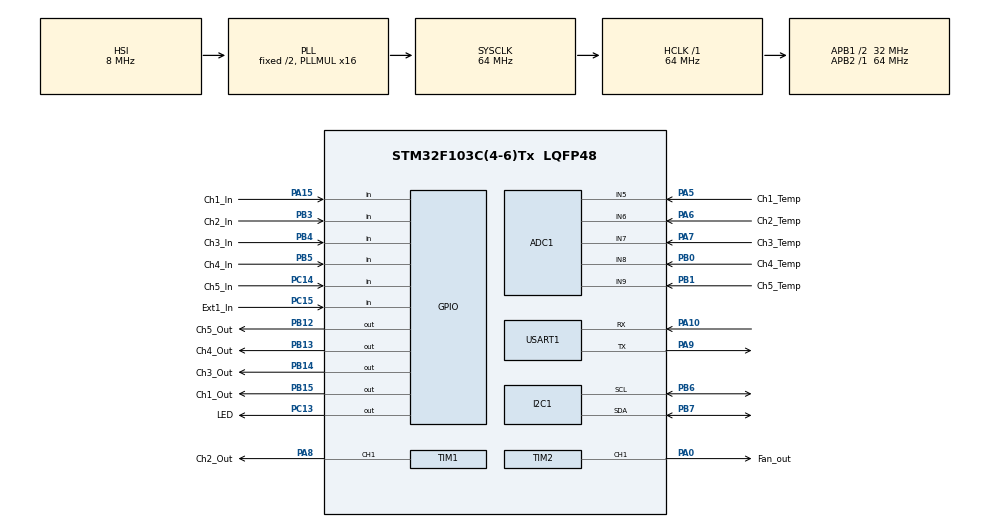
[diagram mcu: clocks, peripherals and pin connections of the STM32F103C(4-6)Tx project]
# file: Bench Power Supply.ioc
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ADC1.Channel-2\#ChannelRegularConversion=ADC_CHANNEL_9
ADC1.NbrOfConversionFlag=1
ADC1.Rank-2\#ChannelRegularConversion=1
ADC1.SamplingTime-2\#ChannelRegularConversion=ADC_SAMPLETIME_1CYCLE_5
ADC1.master=1
Mcu.Family=STM32F1
Mcu.Name=STM32F103C(4-6)Tx
Mcu.Package=LQFP48
NVIC.PriorityGroup=NVIC_PRIORITYGROUP_4
PA0-WKUP.GPIO_Label=Fan_out
PA0-WKUP.Signal=S_TIM2_CH1_ETR
PA10.Mode=Asynchronous
PA10.Signal=USART1_RX
PA13.Mode=Serial_Wire
PA13.Signal=SYS_JTMS-SWDIO
PA14.Mode=Serial_Wire
PA14.Signal=SYS_JTCK-SWCLK
PA15.GPIO_Label=Ch1_In
PA15.GPIO_PuPd=GPIO_PULLDOWN
PA15.Signal=GPIO_Input
PA5.GPIO_Label=Ch1_Temp
PA5.Signal=ADCx_IN5
PA6.GPIO_Label=Ch2_Temp
PA6.Signal=ADCx_IN6
PA7.GPIO_Label=Ch3_Temp
PA7.Signal=ADCx_IN7
PA8.GPIO_Label=Ch2_Out
PA8.Signal=S_TIM1_CH1
PA9.Mode=Asynchronous
PA9.Signal=USART1_TX
PB0.GPIO_Label=Ch4_Temp
PB0.Signal=ADCx_IN8
PB1.GPIO_Label=Ch5_Temp
PB1.Signal=ADCx_IN9
PB12.GPIO_Label=Ch5_Out
PB12.GPIO_PuPd=GPIO_NOPULL
PB12.Signal=GPIO_Output
PB13.GPIO_Label=Ch4_Out
PB13.Signal=GPIO_Output
PB14.GPIO_Label=Ch3_Out
PB14.Signal=GPIO_Output
PB15.GPIO_Label=Ch1_Out
PB15.Signal=GPIO_Output
PB3.GPIO_Label=Ch2_In
PB3.GPIO_PuPd=GPIO_PULLDOWN
PB3.Signal=GPIO_Input
PB4.GPIO_Label=Ch3_In
PB4.GPIO_PuPd=GPIO_PULLDOWN
PB4.Signal=GPIO_Input
PB5.GPIO_Label=Ch4_In
PB5.GPIO_PuPd=GPIO_PULLDOWN
PB5.Signal=GPIO_Input
PB6.Mode=I2C
PB6.Signal=I2C1_SCL
PB7.Mode=I2C
PB7.Signal=I2C1_SDA
PC13-TAMPER-RTC.GPIO_Label=LED
PC13-TAMPER-RTC.Signal=GPIO_Output
PC14-OSC32_IN.GPIO_Label=Ch5_In
PC14-OSC32_IN.GPIO_PuPd=GPIO_PULLDOWN
PC14-OSC32_IN.Signal=GPIO_Input
PC15-OSC32_OUT.GPIO_Label=Ext1_In
PC15-OSC32_OUT.Signal=GPIO_Input
ProjectManager.HeapSize=0x200
ProjectManager.StackSize=0x400
ProjectManager.TargetToolchain=STM32CubeIDE
RCC.ADCPresc=RCC_ADCPCLK2_DIV6
RCC.AHBFreq_Value=64000000
RCC.APB1CLKDivider=RCC_HCLK_DIV2
RCC.APB1Freq_Value=32000000
RCC.APB1TimFreq_Value=64000000
RCC.APB2Freq_Value=64000000
RCC.APB2TimFreq_Value=64000000
RCC.HCLKFreq_Value=64000000
RCC.PLLMUL=RCC_PLL_MUL16
RCC.SYSCLKFreq_VALUE=64000000
RCC.SYSCLKSource=RCC_SYSCLKSOURCE_PLLCLK
RCC.USBFreq_Value=64000000
SH.ADCx_IN5.0=ADC1_IN5,IN5
SH.ADCx_IN6.0=ADC1_IN6,IN6
SH.ADCx_IN7.0=ADC1_IN7,IN7
SH.ADCx_IN8.0=ADC1_IN8,IN8
SH.ADCx_IN9.0=ADC1_IN9,IN9
SH.S_TIM1_CH1.0=TIM1_CH1,PWM Generation1 CH1
SH.S_TIM2_CH1_ETR.0=TIM2_CH1,PWM Generation1 CH1
TIM1.Channel-PWM\ Generation1\ CH1=TIM_CHANNEL_1
TIM1.Period=2047
TIM2.Channel-PWM\ Generation1\ CH1=TIM_CHANNEL_1
TIM2.Period=2047
USART1.VirtualMode=VM_ASYNC
VP_TIM1_VS_ClockSourceINT.Mode=Internal
VP_TIM2_VS_ClockSourceINT.Mode=Internal
board=custom

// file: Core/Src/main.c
/* USER CODE BEGIN Header */
/**
  ******************************************************************************
  * @file           : main.c
  * @brief          : Main program body
  ******************************************************************************
  * @attention
  *
  * Copyright (c) 2025 STMicroelectronics.
  * All rights reserved.
  *
  * This software is licensed under terms that can be found in the LICENSE file
  * in the root directory of this software component.
  * If no LICENSE file comes with this software, it is provided AS-IS.
  *
  ******************************************************************************
  */
/* USER CODE END Header */
#include "main.h"

/* USER CODE BEGIN Includes */
#include <stdbool.h>
#include "controller.h"

/* USER CODE END Includes */

ADC_HandleTypeDef hadc1;

I2C_HandleTypeDef hi2c1;

TIM_HandleTypeDef htim1;
TIM_HandleTypeDef htim2;

UART_HandleTypeDef huart1;

void SystemClock_Config(void);
static void MX_GPIO_Init(void);
static void MX_I2C1_Init(void);
static void MX_USART1_UART_Init(void);
static void MX_ADC1_Init(void);
static void MX_TIM1_Init(void);
static void MX_TIM2_Init(void);

/* USER CODE BEGIN 0 */

/**
 * @brief Retargets the C library `printf` function to the USART1 peripheral.
 * @param ch The character to transmit.
 * @return The character transmitted.
 */
#if DEBUG
int __io_putchar(int ch) {
    HAL_UART_Transmit(&huart1, (uint8_t *)&ch, 1, HAL_MAX_DELAY);
    return ch;
}
#endif

/**
 * @brief This section defines the entire hardware configuration of the power supply in software.
 * All power channels, fans, and external buttons are instantiated and configured here.
 */

static FanController *fans[MAX_FANS] = {
		&(FanController){
			.pwm = {
				.type = OUTPUT_PWM,
				.pwm_timer = &htim2,
				.pwm_channel = TIM_CHANNEL_1,
				.pwm_inversed = false,
				.pwm_last_value = 65535,
			},
			.min_start_speed = 0.22f,
			.temp_activation = true,
			.temp_start_ratio = 0.6f,
			.temp_max_ratio = 0.85f,
			.current_speed = 0.0f,
			.current_activation = true,
			.current_start_ratio = 0.3f,
			.current_max_ratio = 0.8f,
		}
};

static PowerChannel *channels[MAX_CHANNELS] = {
    &(PowerChannel){
		.name = "In",
        .temp_sensor_count = 1,
        .temp_sensors = {
            {
                .adc = {
                    .source = ADC_INTERNAL,
                    .mode = ADC_SINGLE_ENDED,
                    .channel = 9,        // Ch1_Temp
                    .adc_id = 0,
                    .conversion_factor = 0.01f,
                },
                .warning_threshold = 50,
                .shutdown_threshold = 70,
				.nominal_resistance = 10000.0f,
				.nominal_temperature = 298.15f,
				.beta = 3435.0f,
				.series_resistor = 10000.0f,
            }
        },
        .current_sensor = &(CurrentSensor){
            .adc = {
                .source = ADC_EXTERNAL,
                .mode = ADC_DIFFERENTIAL,
                .pos_channel = 0,  // A0
                .neg_channel = 1,  // A1
                .adc_id = 1,       // ADS1115
                .conversion_factor = 0.05,
            },
            .warning_threshold = 9.5f,
            .shutdown_threshold = 12.5f
        },
        .voltage_sensor = NULL, // No voltage sensor
        .output = {
            .type = OUTPUT_GPIO,
            .pin = { .port = Ch1_Out_GPIO_Port, .pin = Ch1_Out_Pin },
            .active_high = 1
        },
        .button = &(Button){
            .pin = { .port = Ch1_In_GPIO_Port, .pin = Ch1_In_Pin },
            .debounce_ms = 10,
            .long_press_ms = 500,
            .state = 0,
            .last_change_time = 0,
            .event = BUTTON_IDLE
        },
        .enabled = false
    },

	&(PowerChannel){
		.name = "C1",
        .temp_sensor_count = 1,
        .temp_sensors = {
            {
                .adc = {
                    .source = ADC_INTERNAL,
                    .mode = ADC_SINGLE_ENDED,
                    .channel = 8,
                    .adc_id = 0,
                    .conversion_factor = 0.01f
                },
                .warning_threshold = 50,
                .shutdown_threshold = 70,
				.nominal_resistance = 10000.0f,
				.nominal_temperature = 298.15f,
				.beta = 3435.0f,
				.series_resistor = 10000.0f,
            }
        },
        .current_sensor = NULL,
        .voltage_sensor = NULL,
        .output = {
            .type = OUTPUT_PWM,
			.pwm_timer = &htim1,
			.pwm_channel = TIM_CHANNEL_1,
            .active_high = 1,
			.pwm_inversed = false,
			.pwm_last_value = 2037,
        },
        .button = &(Button){
            .pin = { .port = Ch2_In_GPIO_Port, .pin = Ch2_In_Pin },
            .debounce_ms = 10,
            .long_press_ms = 500,
            .state = 0,
            .last_change_time = 0,
            .event = BUTTON_IDLE
        },
        .enabled = false
    },

	&(PowerChannel){
		.name = "C2",
        .temp_sensor_count = 1,
        .temp_sensors = {
            {
                .adc = {
                    .source = ADC_INTERNAL,
                    .mode = ADC_SINGLE_ENDED,
                    .channel = 7,
                    .adc_id = 0,
                    .conversion_factor = 0.01f
                },
                .warning_threshold = 50,
                .shutdown_threshold = 70,
				.nominal_resistance = 10000.0f,
				.nominal_temperature = 298.15f,
				.beta = 3435.0f,
				.series_resistor = 10000.0f,
            }
        },
        .current_sensor = NULL,
        .voltage_sensor = NULL,
        .output = {
            .type = OUTPUT_GPIO,
            .pin = { .port = Ch3_Out_GPIO_Port, .pin = Ch3_Out_Pin },
            .active_high = 1
        },
        .button = &(Button){
            .pin = { .port = Ch3_In_GPIO_Port, .pin = Ch3_In_Pin },
            .debounce_ms = 10,
            .long_press_ms = 500,
            .state = 0,
            .last_change_time = 0,
            .event = BUTTON_IDLE
        },
        .enabled = false
    },

	&(PowerChannel){
		.name = "C3",
        .temp_sensor_count = 1,
        .temp_sensors = {
            {
                .adc = {
                    .source = ADC_INTERNAL,
                    .mode = ADC_SINGLE_ENDED,
                    .channel = 6,
                    .adc_id = 0,
                    .conversion_factor = 0.01f
                },
                .warning_threshold = 50,
                .shutdown_threshold = 70,
				.nominal_resistance = 10000.0f,
				.nominal_temperature = 298.15f,
				.beta = 3435.0f,
				.series_resistor = 10000.0f,
            }
        },
        .current_sensor = NULL,
        .voltage_sensor = NULL,
        .output = {
            .type = OUTPUT_GPIO,
            .pin = { .port = Ch4_Out_GPIO_Port, .pin = Ch4_Out_Pin },
            .active_high = 1
        },
        .button = &(Button){
            .pin = { .port = Ch4_In_GPIO_Port, .pin = Ch4_In_Pin },
            .debounce_ms = 10,
            .long_press_ms = 500,
            .state = 0,
            .last_change_time = 0,
            .event = BUTTON_IDLE
        },
        .enabled = false
    },

	&(PowerChannel){
		.name = "C4",
        .temp_sensor_count = 1,
        .temp_sensors = {
            {
                .adc = {
                    .source = ADC_INTERNAL,
                    .mode = ADC_SINGLE_ENDED,
                    .channel = 5,
                    .adc_id = 0,
                    .conversion_factor = 0.01f
                },
                .warning_threshold = 50,
                .shutdown_threshold = 70,
				.nominal_resistance = 10000.0f,
				.nominal_temperature = 298.15f,
				.beta = 3435.0f,
				.series_resistor = 10000.0f,
            }
        },
        .current_sensor = NULL,
        .voltage_sensor = NULL,
        .output = {
            .type = OUTPUT_GPIO,
            .pin = { .port = Ch5_Out_GPIO_Port, .pin = Ch5_Out_Pin },
            .active_high = 1
        },
        .button = &(Button){
            .pin = { .port = Ch5_In_GPIO_Port, .pin = Ch5_In_Pin },
            .debounce_ms = 10,
            .long_press_ms = 500,
            .state = 0,
            .last_change_time = 0,
            .event = BUTTON_IDLE
        },
        .enabled = false
    }
};

static Button* external_buttons[MAX_EXTERNAL_BUTTONS] = {
	&(Button){
		.pin = { .port = Ext1_In_GPIO_Port, .pin = Ext1_In_Pin },
		.debounce_ms = 10,
		.long_press_ms = 1000,
		.state = 0,
		.last_change_time = 0,
		.event = BUTTON_IDLE
	},
};

/* USER CODE END 0 */

int main(void)
{

  /* MCU Configuration--------------------------------------------------------*/

  /* Reset of all peripherals, Initializes the Flash interface and the Systick. */
  HAL_Init();

  /* Configure the system clock */
  SystemClock_Config();

  /* Initialize all configured peripherals */
  MX_GPIO_Init();
  MX_I2C1_Init();
  MX_USART1_UART_Init();
  MX_ADC1_Init();
  MX_TIM1_Init();
  MX_TIM2_Init();
  /* USER CODE BEGIN 2 */
  HAL_GPIO_TogglePin(LED_GPIO_Port, LED_Pin);

  init_controller(channels, MAX_CHANNELS, external_buttons, MAX_EXTERNAL_BUTTONS, fans, MAX_FANS, &hi2c1, &hadc1);

  /* USER CODE END 2 */

  /* Infinite loop */
  /* USER CODE BEGIN WHILE */
  while (1)
  {
	main_loop();
    /* USER CODE END WHILE */

  }
}

void SystemClock_Config(void)
{
  RCC_OscInitTypeDef RCC_OscInitStruct = {0};
  RCC_ClkInitTypeDef RCC_ClkInitStruct = {0};
  RCC_PeriphCLKInitTypeDef PeriphClkInit = {0};

  /** Initializes the RCC Oscillators according to the specified parameters
  * in the RCC_OscInitTypeDef structure.
  */
  RCC_OscInitStruct.OscillatorType = RCC_OSCILLATORTYPE_HSI;
  RCC_OscInitStruct.HSIState = RCC_HSI_ON;
  RCC_OscInitStruct.HSICalibrationValue = RCC_HSICALIBRATION_DEFAULT;
  RCC_OscInitStruct.PLL.PLLState = RCC_PLL_ON;
  RCC_OscInitStruct.PLL.PLLSource = RCC_PLLSOURCE_HSI_DIV2;
  RCC_OscInitStruct.PLL.PLLMUL = RCC_PLL_MUL16;
  if (HAL_RCC_OscConfig(&RCC_OscInitStruct) != HAL_OK)
  {
    Error_Handler();
  }

  /** Initializes the CPU, AHB and APB buses clocks
  */
  RCC_ClkInitStruct.ClockType = RCC_CLOCKTYPE_HCLK|RCC_CLOCKTYPE_SYSCLK
                              |RCC_CLOCKTYPE_PCLK1|RCC_CLOCKTYPE_PCLK2;
  RCC_ClkInitStruct.SYSCLKSource = RCC_SYSCLKSOURCE_PLLCLK;
  RCC_ClkInitStruct.AHBCLKDivider = RCC_SYSCLK_DIV1;
  RCC_ClkInitStruct.APB1CLKDivider = RCC_HCLK_DIV2;
  RCC_ClkInitStruct.APB2CLKDivider = RCC_HCLK_DIV1;

  if (HAL_RCC_ClockConfig(&RCC_ClkInitStruct, FLASH_LATENCY_2) != HAL_OK)
  {
    Error_Handler();
  }
  PeriphClkInit.PeriphClockSelection = RCC_PERIPHCLK_ADC;
  PeriphClkInit.AdcClockSelection = RCC_ADCPCLK2_DIV6;
  if (HAL_RCCEx_PeriphCLKConfig(&PeriphClkInit) != HAL_OK)
  {
    Error_Handler();
  }
}

static void MX_ADC1_Init(void)
{

  ADC_ChannelConfTypeDef sConfig = {0};

  /** Common config
  */
  hadc1.Instance = ADC1;
  hadc1.Init.ScanConvMode = ADC_SCAN_DISABLE;
  hadc1.Init.ContinuousConvMode = DISABLE;
  hadc1.Init.DiscontinuousConvMode = DISABLE;
  hadc1.Init.ExternalTrigConv = ADC_SOFTWARE_START;
  hadc1.Init.DataAlign = ADC_DATAALIGN_RIGHT;
  hadc1.Init.NbrOfConversion = 1;
  if (HAL_ADC_Init(&hadc1) != HAL_OK)
  {
    Error_Handler();
  }

  /** Configure Regular Channel
  */
  sConfig.Channel = ADC_CHANNEL_9;
  sConfig.Rank = ADC_REGULAR_RANK_1;
  sConfig.SamplingTime = ADC_SAMPLETIME_1CYCLE_5;
  if (HAL_ADC_ConfigChannel(&hadc1, &sConfig) != HAL_OK)
  {
    Error_Handler();
  }

}

static void MX_I2C1_Init(void)
{

  hi2c1.Instance = I2C1;
  hi2c1.Init.ClockSpeed = 100000;
  hi2c1.Init.DutyCycle = I2C_DUTYCYCLE_2;
  hi2c1.Init.OwnAddress1 = 0;
  hi2c1.Init.AddressingMode = I2C_ADDRESSINGMODE_7BIT;
  hi2c1.Init.DualAddressMode = I2C_DUALADDRESS_DISABLE;
  hi2c1.Init.OwnAddress2 = 0;
  hi2c1.Init.GeneralCallMode = I2C_GENERALCALL_DISABLE;
  hi2c1.Init.NoStretchMode = I2C_NOSTRETCH_DISABLE;
  if (HAL_I2C_Init(&hi2c1) != HAL_OK)
  {
    Error_Handler();
  }

}

static void MX_TIM1_Init(void)
{

  TIM_ClockConfigTypeDef sClockSourceConfig = {0};
  TIM_MasterConfigTypeDef sMasterConfig = {0};
  TIM_OC_InitTypeDef sConfigOC = {0};
  TIM_BreakDeadTimeConfigTypeDef sBreakDeadTimeConfig = {0};

  htim1.Instance = TIM1;
  htim1.Init.Prescaler = 0;
  htim1.Init.CounterMode = TIM_COUNTERMODE_UP;
  htim1.Init.Period = 2047;
  htim1.Init.ClockDivision = TIM_CLOCKDIVISION_DIV1;
  htim1.Init.RepetitionCounter = 0;
  htim1.Init.AutoReloadPreload = TIM_AUTORELOAD_PRELOAD_DISABLE;
  if (HAL_TIM_Base_Init(&htim1) != HAL_OK)
  {
    Error_Handler();
  }
  sClockSourceConfig.ClockSource = TIM_CLOCKSOURCE_INTERNAL;
  if (HAL_TIM_ConfigClockSource(&htim1, &sClockSourceConfig) != HAL_OK)
  {
    Error_Handler();
  }
  if (HAL_TIM_PWM_Init(&htim1) != HAL_OK)
  {
    Error_Handler();
  }
  sMasterConfig.MasterOutputTrigger = TIM_TRGO_RESET;
  sMasterConfig.MasterSlaveMode = TIM_MASTERSLAVEMODE_DISABLE;
  if (HAL_TIMEx_MasterConfigSynchronization(&htim1, &sMasterConfig) != HAL_OK)
  {
    Error_Handler();
  }
  sConfigOC.OCMode = TIM_OCMODE_PWM1;
  sConfigOC.Pulse = 0;
  sConfigOC.OCPolarity = TIM_OCPOLARITY_HIGH;
  sConfigOC.OCNPolarity = TIM_OCNPOLARITY_HIGH;
  sConfigOC.OCFastMode = TIM_OCFAST_DISABLE;
  sConfigOC.OCIdleState = TIM_OCIDLESTATE_RESET;
  sConfigOC.OCNIdleState = TIM_OCNIDLESTATE_RESET;
  if (HAL_TIM_PWM_ConfigChannel(&htim1, &sConfigOC, TIM_CHANNEL_1) != HAL_OK)
  {
    Error_Handler();
  }
  sBreakDeadTimeConfig.OffStateRunMode = TIM_OSSR_DISABLE;
  sBreakDeadTimeConfig.OffStateIDLEMode = TIM_OSSI_DISABLE;
  sBreakDeadTimeConfig.LockLevel = TIM_LOCKLEVEL_OFF;
  sBreakDeadTimeConfig.DeadTime = 0;
  sBreakDeadTimeConfig.BreakState = TIM_BREAK_DISABLE;
  sBreakDeadTimeConfig.BreakPolarity = TIM_BREAKPOLARITY_HIGH;
  sBreakDeadTimeConfig.AutomaticOutput = TIM_AUTOMATICOUTPUT_DISABLE;
  if (HAL_TIMEx_ConfigBreakDeadTime(&htim1, &sBreakDeadTimeConfig) != HAL_OK)
  {
    Error_Handler();
  }
  HAL_TIM_MspPostInit(&htim1);

}

static void MX_TIM2_Init(void)
{

  TIM_ClockConfigTypeDef sClockSourceConfig = {0};
  TIM_MasterConfigTypeDef sMasterConfig = {0};
  TIM_OC_InitTypeDef sConfigOC = {0};

  htim2.Instance = TIM2;
  htim2.Init.Prescaler = 0;
  htim2.Init.CounterMode = TIM_COUNTERMODE_UP;
  htim2.Init.Period = 2047;
  htim2.Init.ClockDivision = TIM_CLOCKDIVISION_DIV1;
  htim2.Init.AutoReloadPreload = TIM_AUTORELOAD_PRELOAD_DISABLE;
  if (HAL_TIM_Base_Init(&htim2) != HAL_OK)
  {
    Error_Handler();
  }
  sClockSourceConfig.ClockSource = TIM_CLOCKSOURCE_INTERNAL;
  if (HAL_TIM_ConfigClockSource(&htim2, &sClockSourceConfig) != HAL_OK)
  {
    Error_Handler();
  }
  if (HAL_TIM_PWM_Init(&htim2) != HAL_OK)
  {
    Error_Handler();
  }
  sMasterConfig.MasterOutputTrigger = TIM_TRGO_RESET;
  sMasterConfig.MasterSlaveMode = TIM_MASTERSLAVEMODE_DISABLE;
  if (HAL_TIMEx_MasterConfigSynchronization(&htim2, &sMasterConfig) != HAL_OK)
  {
    Error_Handler();
  }
  sConfigOC.OCMode = TIM_OCMODE_PWM1;
  sConfigOC.Pulse = 0;
  sConfigOC.OCPolarity = TIM_OCPOLARITY_HIGH;
  sConfigOC.OCFastMode = TIM_OCFAST_DISABLE;
  if (HAL_TIM_PWM_ConfigChannel(&htim2, &sConfigOC, TIM_CHANNEL_1) != HAL_OK)
  {
    Error_Handler();
  }
  HAL_TIM_MspPostInit(&htim2);

}

static void MX_USART1_UART_Init(void)
{

  huart1.Instance = USART1;
  huart1.Init.BaudRate = 115200;
  huart1.Init.WordLength = UART_WORDLENGTH_8B;
  huart1.Init.StopBits = UART_STOPBITS_1;
  huart1.Init.Parity = UART_PARITY_NONE;
  huart1.Init.Mode = UART_MODE_TX_RX;
  huart1.Init.HwFlowCtl = UART_HWCONTROL_NONE;
  huart1.Init.OverSampling = UART_OVERSAMPLING_16;
  if (HAL_UART_Init(&huart1) != HAL_OK)
  {
    Error_Handler();
  }

}

static void MX_GPIO_Init(void)
{
  GPIO_InitTypeDef GPIO_InitStruct = {0};

  /* GPIO Ports Clock Enable */
  __HAL_RCC_GPIOC_CLK_ENABLE();
  __HAL_RCC_GPIOA_CLK_ENABLE();
  __HAL_RCC_GPIOB_CLK_ENABLE();

  /*Configure GPIO pin Output Level */
  HAL_GPIO_WritePin(LED_GPIO_Port, LED_Pin, GPIO_PIN_RESET);

  /*Configure GPIO pin Output Level */
  HAL_GPIO_WritePin(GPIOB, Ch5_Out_Pin|Ch4_Out_Pin|Ch3_Out_Pin|Ch1_Out_Pin, GPIO_PIN_RESET);

  /*Configure GPIO pin : LED_Pin */
  GPIO_InitStruct.Pin = LED_Pin;
  GPIO_InitStruct.Mode = GPIO_MODE_OUTPUT_PP;
  GPIO_InitStruct.Pull = GPIO_NOPULL;
  GPIO_InitStruct.Speed = GPIO_SPEED_FREQ_LOW;
  HAL_GPIO_Init(LED_GPIO_Port, &GPIO_InitStruct);

  /*Configure GPIO pin : Ch5_In_Pin */
  GPIO_InitStruct.Pin = Ch5_In_Pin;
  GPIO_InitStruct.Mode = GPIO_MODE_INPUT;
  GPIO_InitStruct.Pull = GPIO_PULLDOWN;
  HAL_GPIO_Init(Ch5_In_GPIO_Port, &GPIO_InitStruct);

  /*Configure GPIO pin : Ext1_In_Pin */
  GPIO_InitStruct.Pin = Ext1_In_Pin;
  GPIO_InitStruct.Mode = GPIO_MODE_INPUT;
  GPIO_InitStruct.Pull = GPIO_NOPULL;
  HAL_GPIO_Init(Ext1_In_GPIO_Port, &GPIO_InitStruct);

  /*Configure GPIO pins : Ch5_Out_Pin Ch4_Out_Pin Ch3_Out_Pin Ch1_Out_Pin */
  GPIO_InitStruct.Pin = Ch5_Out_Pin|Ch4_Out_Pin|Ch3_Out_Pin|Ch1_Out_Pin;
  GPIO_InitStruct.Mode = GPIO_MODE_OUTPUT_PP;
  GPIO_InitStruct.Pull = GPIO_NOPULL;
  GPIO_InitStruct.Speed = GPIO_SPEED_FREQ_LOW;
  HAL_GPIO_Init(GPIOB, &GPIO_InitStruct);

  /*Configure GPIO pin : Ch1_In_Pin */
  GPIO_InitStruct.Pin = Ch1_In_Pin;
  GPIO_InitStruct.Mode = GPIO_MODE_INPUT;
  GPIO_InitStruct.Pull = GPIO_PULLDOWN;
  HAL_GPIO_Init(Ch1_In_GPIO_Port, &GPIO_InitStruct);

  /*Configure GPIO pins : Ch2_In_Pin Ch3_In_Pin Ch4_In_Pin */
  GPIO_InitStruct.Pin = Ch2_In_Pin|Ch3_In_Pin|Ch4_In_Pin;
  GPIO_InitStruct.Mode = GPIO_MODE_INPUT;
  GPIO_InitStruct.Pull = GPIO_PULLDOWN;
  HAL_GPIO_Init(GPIOB, &GPIO_InitStruct);

}

void Error_Handler(void)
{
  __disable_irq();
  while (1)
  {
  }
}
